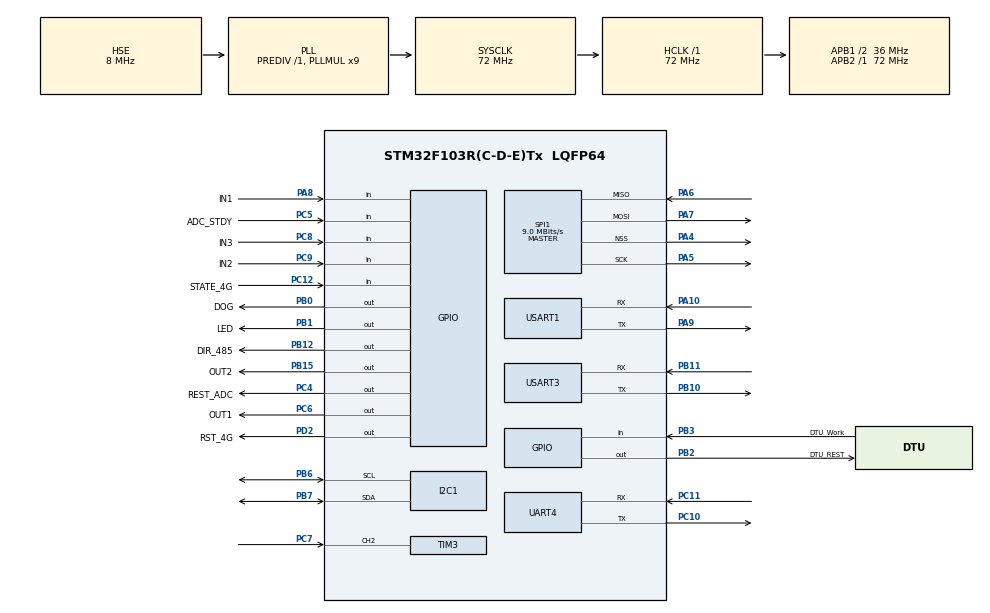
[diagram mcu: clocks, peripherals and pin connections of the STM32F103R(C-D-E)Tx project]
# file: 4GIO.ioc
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FREERTOS.INCLUDE_eTaskGetState=1
FREERTOS.INCLUDE_pcTaskGetTaskName=1
FREERTOS.INCLUDE_uxTaskGetStackHighWaterMark=1
FREERTOS.INCLUDE_vTaskDelayUntil=1
FREERTOS.INCLUDE_xQueueGetMutexHolder=1
FREERTOS.INCLUDE_xSemaphoreGetMutexHolder=1
FREERTOS.INCLUDE_xTaskGetCurrentTaskHandle=1
FREERTOS.INCLUDE_xTaskGetHandle=1
FREERTOS.Tasks01=defaultTask,-2,128,StartDefaultTask,Default,NULL,Dynamic,NULL,NULL;uart1,0,256,StartTask02,Default,NULL,Dynamic,NULL,NULL;uart3,1,256,StartTask03,Default,NULL,Dynamic,NULL,NULL;dataprocess,-2,128,StartTask04,Default,NULL,Dynamic,NULL,NULL;uart4,-1,512,StartTask05,Default,NULL,Dynamic,NULL,NULL
FREERTOS.configGENERATE_RUN_TIME_STATS=1
FREERTOS.configMINIMAL_STACK_SIZE=128
FREERTOS.configTOTAL_HEAP_SIZE=16384
FREERTOS.configUSE_STATS_FORMATTING_FUNCTIONS=1
FREERTOS.configUSE_TRACE_FACILITY=1
I2C1.DualAddressMode=I2C_DUALADDRESS_DISABLE
I2C1.GeneralCallMode=I2C_GENERALCALL_DISABLE
I2C1.I2C_Mode=I2C_Standard
I2C1.NoStretchMode=I2C_NOSTRETCH_ENABLE
IWDG.Prescaler=IWDG_PRESCALER_32
IWDG.Reload=2000
Mcu.Family=STM32F1
Mcu.Name=STM32F103R(C-D-E)Tx
Mcu.Package=LQFP64
NVIC.PriorityGroup=NVIC_PRIORITYGROUP_4
NVIC.RTC_IRQn=true\:5\:0\:false\:false\:true\:true\:true
NVIC.TIM1_UP_IRQn=true\:0\:0\:false\:false\:true\:false\:false
NVIC.TIM2_IRQn=true\:5\:0\:false\:false\:true\:true\:true
NVIC.TIM3_IRQn=true\:5\:0\:false\:false\:true\:true\:true
NVIC.TimeBase=TIM1_UP_IRQn
NVIC.TimeBaseIP=TIM1
NVIC.UART4_IRQn=true\:5\:0\:false\:false\:true\:true\:true
NVIC.USART1_IRQn=true\:5\:0\:false\:false\:true\:true\:true
NVIC.USART3_IRQn=true\:5\:0\:false\:false\:true\:true\:true
PA10.Mode=Asynchronous
PA10.Signal=USART1_RX
PA13.Mode=Serial_Wire
PA13.Signal=SYS_JTMS-SWDIO
PA14.Mode=Serial_Wire
PA14.Signal=SYS_JTCK-SWCLK
PA4.Mode=NSS_Signal_Hard_Output
PA4.Signal=SPI1_NSS
PA5.Mode=Full_Duplex_Master
PA5.Signal=SPI1_SCK
PA6.Mode=Full_Duplex_Master
PA6.Signal=SPI1_MISO
PA7.Mode=Full_Duplex_Master
PA7.Signal=SPI1_MOSI
PA8.GPIO_Label=IN1
PA8.Signal=GPIO_Input
PA9.Mode=Asynchronous
PA9.Signal=USART1_TX
PB0.GPIO_Label=DOG
PB0.Signal=GPIO_Output
PB1.GPIO_Label=LED
PB1.Signal=GPIO_Output
PB10.Mode=Asynchronous
PB10.Signal=USART3_TX
PB11.Mode=Asynchronous
PB11.Signal=USART3_RX
PB12.GPIO_Label=DIR_485
PB12.Signal=GPIO_Output
PB15.GPIO_Label=OUT2
PB15.Signal=GPIO_Output
PB2.GPIO_Label=DTU_REST
PB2.PinState=GPIO_PIN_SET
PB2.Signal=GPIO_Output
PB3.GPIO_Label=DTU_Work
PB3.Signal=GPIO_Input
PB6.Mode=I2C
PB6.Signal=I2C1_SCL
PB7.Mode=I2C
PB7.Signal=I2C1_SDA
PC10.Mode=Asynchronous
PC10.Signal=UART4_TX
PC11.Mode=Asynchronous
PC11.Signal=UART4_RX
PC12.GPIO_Label=STATE_4G
PC12.Signal=GPIO_Input
PC14-OSC32_IN.Mode=LSE-External-Oscillator
PC14-OSC32_IN.Signal=RCC_OSC32_IN
PC15-OSC32_OUT.Mode=LSE-External-Oscillator
PC15-OSC32_OUT.Signal=RCC_OSC32_OUT
PC4.GPIO_Label=REST_ADC
PC4.PinState=GPIO_PIN_SET
PC4.Signal=GPIO_Output
PC5.GPIO_Label=ADC_STDY
PC5.Signal=GPIO_Input
PC6.GPIO_Label=OUT1
PC6.Signal=GPIO_Output
PC7.Signal=S_TIM3_CH2
PC8.GPIO_Label=IN3
PC8.Signal=GPIO_Input
PC9.GPIO_Label=IN2
PC9.Signal=GPIO_Input
PD0-OSC_IN.Mode=HSE-External-Oscillator
PD0-OSC_IN.Signal=RCC_OSC_IN
PD1-OSC_OUT.Mode=HSE-External-Oscillator
PD1-OSC_OUT.Signal=RCC_OSC_OUT
PD2.GPIO_Label=RST_4G
PD2.GPIO_Speed=GPIO_SPEED_FREQ_LOW
PD2.PinState=GPIO_PIN_RESET
PD2.Signal=GPIO_Output
ProjectManager.HeapSize=0x400
ProjectManager.StackSize=0x800
ProjectManager.TargetToolchain=MDK-ARM V5
RCC.AHBFreq_Value=72000000
RCC.APB1CLKDivider=RCC_HCLK_DIV2
RCC.APB1Freq_Value=36000000
RCC.APB1TimFreq_Value=72000000
RCC.APB2Freq_Value=72000000
RCC.APB2TimFreq_Value=72000000
RCC.HCLKFreq_Value=72000000
RCC.PLLMUL=RCC_PLL_MUL9
RCC.PLLSourceVirtual=RCC_PLLSOURCE_HSE
RCC.RTCClockSelection=RCC_RTCCLKSOURCE_LSE
RCC.SYSCLKFreq_VALUE=72000000
RCC.SYSCLKSource=RCC_SYSCLKSOURCE_PLLCLK
RCC.USBFreq_Value=48000000
RCC.USBPrescaler=RCC_USBCLKSOURCE_PLL_DIV1_5
RTC.AutoPrediv=RTC_AUTO_1_SECOND
RTC.Format=RTC_FORMAT_BIN
RTC.Hours=23
RTC.Minutes=1
RTC.OutPut=RTC_OUTPUTSOURCE_ALARM
RTC.Seconds=1
RTC.Year=21
SH.S_TIM3_CH2.0=TIM3_CH2,Input_Capture2_from_TI2
SPI1.BaudRatePrescaler=SPI_BAUDRATEPRESCALER_8
SPI1.CLKPhase=SPI_PHASE_2EDGE
SPI1.CLKPolarity=SPI_POLARITY_HIGH
SPI1.CalculateBaudRate=9.0 MBits/s
SPI1.Direction=SPI_DIRECTION_2LINES
SPI1.Mode=SPI_MODE_MASTER
SPI1.VirtualNSS=VM_NSSHARD
SPI1.VirtualType=VM_MASTER
TIM2.Period=1000
TIM2.Prescaler=71
TIM3.AutoReloadPreload=TIM_AUTORELOAD_PRELOAD_ENABLE
TIM3.Channel-Input_Capture2_from_TI2=TIM_CHANNEL_2
TIM3.Period=0xffff
TIM3.Prescaler=71
UART4.VirtualMode=Asynchronous
USART1.VirtualMode=VM_ASYNC
USART3.VirtualMode=VM_ASYNC
VP_FREERTOS_VS_ENABLE.Mode=Enabled
VP_IWDG_VS_IWDG.Mode=IWDG_Activate
VP_RTC_VS_RTC_Activate.Mode=RTC_Enabled
VP_RTC_VS_RTC_Calendar.Mode=RTC_Calendar
VP_SYS_VS_tim1.Mode=TIM1
VP_TIM2_VS_ClockSourceINT.Mode=Internal
VP_TIM3_VS_ClockSourceINT.Mode=Internal
board=custom

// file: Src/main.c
/**
  ******************************************************************************
  * @file           : main.c
  * @brief          : Main program body
  ******************************************************************************
  * This notice applies to any and all portions of this file
  * that are not between comment pairs USER CODE BEGIN and
  * USER CODE END. Other portions of this file, whether
  * inserted by the user or by software development tools
  * are owned by their respective copyright owners.
  *
  * Copyright (c) 2022 STMicroelectronics International N.V.
  * All rights reserved.
  *
  * Redistribution and use in source and binary forms, with or without
  * modification, are permitted, provided that the following conditions are met:
  *
  * 1. Redistribution of source code must retain the above copyright notice,
  *    this list of conditions and the following disclaimer.
  * 2. Redistributions in binary form must reproduce the above copyright notice,
  *    this list of conditions and the following disclaimer in the documentation
  *    and/or other materials provided with the distribution.
  * 3. Neither the name of STMicroelectronics nor the names of other
  *    contributors to this software may be used to endorse or promote products
  *    derived from this software without specific written permission.
  * 4. This software, including modifications and/or derivative works of this
  *    software, must execute solely and exclusively on microcontroller or
  *    microprocessor devices manufactured by or for STMicroelectronics.
  * 5. Redistribution and use of this software other than as permitted under
  *    this license is void and will automatically terminate your rights under
  *    this license.
  *
  * THIS SOFTWARE IS PROVIDED BY STMICROELECTRONICS AND CONTRIBUTORS "AS IS"
  * AND ANY EXPRESS, IMPLIED OR STATUTORY WARRANTIES, INCLUDING, BUT NOT
  * LIMITED TO, THE IMPLIED WARRANTIES OF MERCHANTABILITY, FITNESS FOR A
  * PARTICULAR PURPOSE AND NON-INFRINGEMENT OF THIRD PARTY INTELLECTUAL PROPERTY
  * RIGHTS ARE DISCLAIMED TO THE FULLEST EXTENT PERMITTED BY LAW. IN NO EVENT
  * SHALL STMICROELECTRONICS OR CONTRIBUTORS BE LIABLE FOR ANY DIRECT, INDIRECT,
  * INCIDENTAL, SPECIAL, EXEMPLARY, OR CONSEQUENTIAL DAMAGES (INCLUDING, BUT NOT
  * LIMITED TO, PROCUREMENT OF SUBSTITUTE GOODS OR SERVICES; LOSS OF USE, DATA,
  * OR PROFITS; OR BUSINESS INTERRUPTION) HOWEVER CAUSED AND ON ANY THEORY OF
  * LIABILITY, WHETHER IN CONTRACT, STRICT LIABILITY, OR TORT (INCLUDING
  * NEGLIGENCE OR OTHERWISE) ARISING IN ANY WAY OUT OF THE USE OF THIS SOFTWARE,
  * EVEN IF ADVISED OF THE POSSIBILITY OF SUCH DAMAGE.
  *
  ******************************************************************************
  */
#include "main.h"
#include "stm32f1xx_hal.h"
#include "cmsis_os.h"
#include "i2c.h"
#include "iwdg.h"
#include "rtc.h"
#include "spi.h"
#include "tim.h"
#include "usart.h"
#include "gpio.h"

/* USER CODE BEGIN Includes */
#include "malloc.h"
#include "24cxx.h"
#include "uart1data.h"
#include "modbus.h"
#include "logicaldata.h"
#include "iap.h"
/* USER CODE END Includes */

/* USER CODE BEGIN PV */
/* Private variables ---------------------------------------------------------*/

/* USER CODE END PV */

void SystemClock_Config(void);
void MX_FREERTOS_Init(void);

/* USER CODE BEGIN PFP */
/* Private function prototypes -----------------------------------------------*/
extern char Version_Num[30];//版本号
/* USER CODE END PFP */

/* USER CODE BEGIN 0 */
void EEROM_Read(void)
{
   uint8_t temp=0;
   uint8_t databuf[30];
	 temp=AT24CXX_ReadOne(0);//避免每次开机都写AT24CXX
   if(temp!=0X55)
	 {
	      AT24CXX_WriteOne(0,0X55);
		    AT24CXX_WriteOne(AD1_Type_Adress,AD1_Type);     //0:关       1:4-20ma   2:0-5V
		    AT24CXX_WriteOne(AD2_Type_Adress,AD2_Type);     //0:关       1:4-20ma   2:0-5V
        AT24CXX_WriteOne(RS485_Adresss,Device485_type); //设备485类型(是否带智能微断)  0：不用  1：微端控制不带计量
        AT24CXX_WriteOne(CNC_UpType_Adress,CNC_UpType); //0:不上报 1:变化上报 2:定时上报
		    AT24CXX_WriteOne(CNC_UpTime_Adress,CNC_UpTime); //1:单位分钟
			  AT24CXX_WriteOne(CNC_YELLOW_Adress ,CNC_YELLOW);//0:常亮结束 1:闪烁结束  2:脉冲计数
        AT24CXX_WriteOne(CNC_GREEN_Adress ,CNC_GREEN);  //0:常亮结束 1:闪烁运行
        AT24CXX_WriteOne(CNC_RED_Adress,CNC_RED);       //0:常亮故障 1:闪烁故障

			  memcpy(databuf,&TIM3_CAPTURE_VAL1,4);           //TIM3_CAPTURE_VAL1计数值清零
			  AT24CXX_Write(TIM3_CAPTURE_VAL1_Adress,databuf,4);

        memcpy(databuf,&AD1_PhyValue1,4);               //AD1物理量范围1
			  AT24CXX_Write(AD1_PhyValue1_Adress,databuf,4);

        memcpy(databuf,&AD1_PhyValue2,4);               //AD1物理量范围2
			  AT24CXX_Write(AD1_PhyValue2_Adress,databuf,4);

        memcpy(databuf,&AD2_PhyValue1,4);               //AD2物理量范围1
			  AT24CXX_Write(AD2_PhyValue1_Adress,databuf,4);

        memcpy(databuf,&AD2_PhyValue2,4);               //AD2物理量范围2
			  AT24CXX_Write(AD2_PhyValue2_Adress,databuf,4);

				memcpy(databuf,&CNC_UpTime,2);                     //1:单位秒
			  AT24CXX_Write(CNC_UpTime_Adress,databuf,2);

				AT24CXX_WriteOne(Slave_Num_Adress,Slave_Num);       //主站询问从机个数
				AT24CXX_WriteOne(Master_ADDR_Adress,Master_ADDR);   //主站询问首地址

        memcpy(databuf,&StartAddr,2);                       //起始地址
				AT24CXX_Write(StartAddr_Adress,databuf,2);

        memcpy(databuf,&ValueOrLenth,2);                      //数据or长度写多个寄存器返回数据量的对比值
				AT24CXX_Write(ValueOrLenth_Adress,databuf,2);

        AT24CXX_WriteOne(Slave_ADDR_Adress,Slave_ADDR);       //Modbus从机ID

        AT24CXX_WriteOne(ModbusBaudRate_Adress,ModbusBaudRate);     //Modbus串口波特率  1:2400 2:4800 3:9600 4:14400 5:19200 6:38400 7:57600 8:115200
		    AT24CXX_WriteOne(ModbusWordLength_Adress,ModbusWordLength); //Modbus串口数据位  5-8
		    AT24CXX_WriteOne(ModbusStopBits_Adress,ModbusStopBits);     //Modbus串口停止位  1-2
		    AT24CXX_WriteOne(ModbusParity_Adress,ModbusParity);         //Modbus串口校验位  1:无校验 2:奇校验 3:偶校验

        memcpy(databuf,&TIM3_Pulse_Threshold,2);                   //脉冲捕捉上升和下降沿之间时间单位ms
        AT24CXX_Write(TIM3_Pulse_Threshold_Adress,databuf,2);
        SetServerIP((char*) IP);
			  SetServerPort((char*)Port);
			  SetUserName((char*)MQTTUserName);
				SetPassWord((char*)MQTTPassWord);

        AD1_Type=AT24CXX_ReadOne(AD1_Type_Adress);         //0:关       1:4-20ma   2:0-5V
		    AD2_Type=AT24CXX_ReadOne(AD2_Type_Adress);         //0:关       1:4-20ma   2:0-5V
        Device485_type=AT24CXX_ReadOne(RS485_Adresss);     //设备485类型(是否带智能微断)  0：不用  1：微端控制不带计量
        CNC_UpType=AT24CXX_ReadOne(CNC_UpType_Adress);     //0:不上报 1:变化上报 2:定时上报

		    CNC_YELLOW=AT24CXX_ReadOne(CNC_YELLOW_Adress);     //0:常亮结束 1:闪烁结束
				CNC_GREEN=AT24CXX_ReadOne(CNC_GREEN_Adress);       //0:常亮结束 1:闪烁运行
				CNC_RED=AT24CXX_ReadOne(CNC_RED_Adress);           //0:常亮结束 1:闪烁故障
				AT24CXX_Read(TIM3_CAPTURE_VAL1_Adress,databuf,4);
				memcpy(&TIM3_CAPTURE_VAL1,databuf,4);

				AT24CXX_Read(AD1_PhyValue1_Adress,databuf,4);
				memcpy(&AD1_PhyValue1,databuf,4);

				AT24CXX_Read(AD1_PhyValue2_Adress,databuf,4);
				memcpy(&AD1_PhyValue2,databuf,4);

				AT24CXX_Read(AD2_PhyValue1_Adress,databuf,4);
				memcpy(&AD2_PhyValue1,databuf,4);

				AT24CXX_Read(AD2_PhyValue2_Adress,databuf,4);
				memcpy(&AD2_PhyValue2,databuf,4);

				AT24CXX_Read(CNC_UpTime_Adress,databuf,2);
				memcpy(&CNC_UpTime,databuf,2);
	      if(CNC_UpType==2)
			  {
			     bsp_StartAutoTimer(1, CNC_UpTime*1000);	        /* 启动1个1000ms的自动重装的定时器 */
           bsp_StartAutoTimer(7, CNC_UpTime*1000);	        /* 启动1个1000ms的自动重装的定时器定时上报计数 */
			  }

        Slave_Num=AT24CXX_ReadOne(Slave_Num_Adress);       //主站询问从机个数
        Master_ADDR=AT24CXX_ReadOne(Master_ADDR_Adress);   //主站询问首地址
	      Slave_ADDR=AT24CXX_ReadOne(Slave_ADDR_Adress);     //Modbus从机ID

				AT24CXX_Read(StartAddr_Adress,databuf,2);          //起始地址
				memcpy(&StartAddr,databuf,2);

				AT24CXX_Read(ValueOrLenth_Adress,databuf,2);      //数据or长度写多个寄存器返回数据量的对比值
				memcpy(&ValueOrLenth,databuf,2);

        ModbusBaudRate=AT24CXX_ReadOne(ModbusBaudRate_Adress);     //Modbus串口波特率  1:2400 2:4800 3:9600 4:14400 5:19200 6:38400 7:57600 8:115200
			  ModbusWordLength=AT24CXX_ReadOne(ModbusWordLength_Adress); //Modbus串口数据位  5-8
				ModbusStopBits=AT24CXX_ReadOne(ModbusStopBits_Adress);     //Modbus串口停止位  1-2
				ModbusParity=AT24CXX_ReadOne(ModbusParity_Adress);         //Modbus串口校验位  1:无校验 2:奇校验 3:偶校验

				AT24CXX_Read(TIM3_Pulse_Threshold_Adress,databuf,2);      //脉冲捕捉上升和下降沿之间时间单位ms
				memcpy(&TIM3_Pulse_Threshold,databuf,2);
				GetServerIP((char*)IP);
				GetServerPort((char*) Port);
				GetUserName((char*)MQTTUserName);
				GetPassWord((char*)MQTTPassWord);
			  printf("%s\r\n", "24cxx外部eerom_初始化!");
	 }
	 else
	 {
        AD1_Type=AT24CXX_ReadOne(AD1_Type_Adress);        //0:关       1:4-20ma   2:0-5V
		    AD2_Type=AT24CXX_ReadOne(AD2_Type_Adress);        //0:关       1:4-20ma   2:0-5V
       	Device485_type=AT24CXX_ReadOne(RS485_Adresss);    //设备485类型(是否带智能微断)  0：不用  1：微端控制不带计量
        CNC_UpType=AT24CXX_ReadOne(CNC_UpType_Adress);     //0:不上报 1:变化上报 2:定时上报

		    CNC_YELLOW=AT24CXX_ReadOne(CNC_YELLOW_Adress);     //0:常亮结束 1:闪烁结束
				CNC_GREEN=AT24CXX_ReadOne(CNC_GREEN_Adress);       //0:常亮结束 1:闪烁运行
				CNC_RED=AT24CXX_ReadOne(CNC_RED_Adress);           //0:常亮结束 1:闪烁故障
				AT24CXX_Read(TIM3_CAPTURE_VAL1_Adress,databuf,4);
				memcpy(&TIM3_CAPTURE_VAL1,databuf,4);

				AT24CXX_Read(AD1_PhyValue1_Adress,databuf,4);
				memcpy(&AD1_PhyValue1,databuf,4);

				AT24CXX_Read(AD1_PhyValue2_Adress,databuf,4);
				memcpy(&AD1_PhyValue2,databuf,4);

				AT24CXX_Read(AD2_PhyValue1_Adress,databuf,4);
				memcpy(&AD2_PhyValue1,databuf,4);

				AT24CXX_Read(AD2_PhyValue2_Adress,databuf,4);
				memcpy(&AD2_PhyValue2,databuf,4);

       	AT24CXX_Read(CNC_UpTime_Adress,databuf,2);
				memcpy(&CNC_UpTime,databuf,2);
        if(CNC_UpType==2)
			  {
			     bsp_StartAutoTimer(1, CNC_UpTime*1000);	    /* 启动1个1000ms的自动重装的定时器定时上报计数 */
           bsp_StartAutoTimer(7, CNC_UpTime*1000);	    /* 启动1个1000ms的自动重装的定时器定时上报计数 */
			  }

        Slave_Num=AT24CXX_ReadOne(Slave_Num_Adress);       //主站询问从机个数
        Master_ADDR=AT24CXX_ReadOne(Master_ADDR_Adress);   //主站询问首地址
	      Slave_ADDR=AT24CXX_ReadOne(Slave_ADDR_Adress);     //Modbus从机ID

				AT24CXX_Read(StartAddr_Adress,databuf,2);          //起始地址
				memcpy(&StartAddr,databuf,2);

				AT24CXX_Read(ValueOrLenth_Adress,databuf,2);      //数据or长度写多个寄存器返回数据量的对比值
				memcpy(&ValueOrLenth,databuf,2);

        ModbusBaudRate=AT24CXX_ReadOne(ModbusBaudRate_Adress); //Modbus串口波特率  1:2400 2:4800 3:9600 4:14400 5:19200 6:38400 7:57600 8:115200
			  ModbusWordLength=AT24CXX_ReadOne(ModbusWordLength_Adress); //Modbus串口数据位  5-8
				ModbusStopBits=AT24CXX_ReadOne(ModbusStopBits_Adress);     //Modbus串口停止位  1-2
				ModbusParity=AT24CXX_ReadOne(ModbusParity_Adress);         //Modbus串口校验位  1:无校验 2:奇校验 3:偶校验

				AT24CXX_Read(TIM3_Pulse_Threshold_Adress,databuf,2);      //脉冲捕捉上升和下降沿之间时间单位ms
				memcpy(&TIM3_Pulse_Threshold,databuf,2);
				GetServerIP((char*)IP);
				GetServerPort((char*) Port);
				GetUserName((char*)MQTTUserName);
				GetPassWord((char*)MQTTPassWord);

	 }
}

/* USER CODE END 0 */

int main(void)
{
  /* USER CODE BEGIN 1 */
	 //INTX_ENABLE();                     //开启中断
   SCB->VTOR = FLASH_BASE | 0x10000;  /* Vector Table Relocation in Internal FLASH. */
  /* USER CODE END 1 */

  /* MCU Configuration----------------------------------------------------------*/

  /* Reset of all peripherals, Initializes the Flash interface and the Systick. */
  HAL_Init();

  /* Configure the system clock */
  SystemClock_Config();

  /* Initialize all configured peripherals */
  MX_GPIO_Init();
  MX_RTC_Init();
  MX_USART1_UART_Init();
  MX_IWDG_Init();
  MX_SPI1_Init();
  MX_I2C1_Init();
  MX_TIM2_Init();
  MX_UART4_Init();
  MX_USART3_UART_Init();
  MX_TIM3_Init();
  /* USER CODE BEGIN 2 */
  my_mem_init(SRAMIN);			//初始化内部内存池

	if(AT24CXX_Check()==1)   //检测不到24c02
	{
		  EEROM_Read();
	    printf("%s\r\n", "24cxx外部eerom_OK!");
	}
	else
	{
	     printf("%s\r\n", "24cxx外部eerom_Fail!");
	}

  MX_RTCBSP_Init();
	MX_USART3BSP_UART_Init();
	  /* 使能接收，进入中断回调函数 */
   HAL_UART_Receive_IT(&huart1,(uint8_t *)aRxBuffer, RXBUFFERSIZE);
	__HAL_UART_ENABLE_IT(&huart1, UART_IT_IDLE);
	 HAL_UART_Receive_IT(&huart3,(uint8_t *)aRx3Buffer, RX3BUFFERSIZE);
	__HAL_UART_ENABLE_IT(&huart3, UART_IT_IDLE);
	 HAL_UART_Receive_IT(&huart4,(uint8_t *)aRx4Buffer, RX4BUFFERSIZE);
	__HAL_UART_ENABLE_IT(&huart4, UART_IT_IDLE);
		//定时2启动
	 HAL_TIM_Base_Start_IT(&htim2);
	 HAL_TIM_Base_Start_IT(&htim3);

	 if(CNC_YELLOW==2){
		 HAL_TIM_IC_Start_IT(&htim3,TIM_CHANNEL_2);   //开启TIM3的捕获通道2，并且开启捕获中断
	 }
	 else
	 {
	   HAL_TIM_IC_Stop(&htim3,TIM_CHANNEL_2);   //关闭TIM3的捕获通道2，并且关闭捕获中断
	 }
	bsp_StartAutoTimer(2, 6*1000);	    /* 启动1个1000ms的自动重装的定时器 本地定时显示*/
  printf("\r\n\r\n*******************开始运行用户程序*******************\r\n");
	printf("硬件版本:%d\r\n",IAPGetHardwareVersion());
	printf("设备型号:%s\r\n",DeviceModel);
	printf("固件版本:%s\r\n", Version_Num);
  printf("ServerIP:%s\r\n", IP);
  printf("ServerPort:%s\r\n",Port);
  printf("UserName:%s\r\n", MQTTUserName);
  printf("PassWord:%s\r\n", MQTTPassWord);
  /* USER CODE END 2 */

  /* Call init function for freertos objects (in freertos.c) */
  MX_FREERTOS_Init();

  /* Start scheduler */
  osKernelStart();

  /* We should never get here as control is now taken by the scheduler */

  /* Infinite loop */
  while (1)
  {

  }

}

void SystemClock_Config(void)
{

  RCC_OscInitTypeDef RCC_OscInitStruct;
  RCC_ClkInitTypeDef RCC_ClkInitStruct;
  RCC_PeriphCLKInitTypeDef PeriphClkInit;

    /**Initializes the CPU, AHB and APB busses clocks
    */
  RCC_OscInitStruct.OscillatorType = RCC_OSCILLATORTYPE_LSI|RCC_OSCILLATORTYPE_HSE
                              |RCC_OSCILLATORTYPE_LSE;
  RCC_OscInitStruct.HSEState = RCC_HSE_ON;
  RCC_OscInitStruct.HSEPredivValue = RCC_HSE_PREDIV_DIV1;
  RCC_OscInitStruct.LSEState = RCC_LSE_ON;
  RCC_OscInitStruct.HSIState = RCC_HSI_ON;
  RCC_OscInitStruct.LSIState = RCC_LSI_ON;
  RCC_OscInitStruct.PLL.PLLState = RCC_PLL_ON;
  RCC_OscInitStruct.PLL.PLLSource = RCC_PLLSOURCE_HSE;
  RCC_OscInitStruct.PLL.PLLMUL = RCC_PLL_MUL9;
  if (HAL_RCC_OscConfig(&RCC_OscInitStruct) != HAL_OK)
  {
    _Error_Handler(__FILE__, __LINE__);
  }

    /**Initializes the CPU, AHB and APB busses clocks
    */
  RCC_ClkInitStruct.ClockType = RCC_CLOCKTYPE_HCLK|RCC_CLOCKTYPE_SYSCLK
                              |RCC_CLOCKTYPE_PCLK1|RCC_CLOCKTYPE_PCLK2;
  RCC_ClkInitStruct.SYSCLKSource = RCC_SYSCLKSOURCE_PLLCLK;
  RCC_ClkInitStruct.AHBCLKDivider = RCC_SYSCLK_DIV1;
  RCC_ClkInitStruct.APB1CLKDivider = RCC_HCLK_DIV2;
  RCC_ClkInitStruct.APB2CLKDivider = RCC_HCLK_DIV1;

  if (HAL_RCC_ClockConfig(&RCC_ClkInitStruct, FLASH_LATENCY_2) != HAL_OK)
  {
    _Error_Handler(__FILE__, __LINE__);
  }

  PeriphClkInit.PeriphClockSelection = RCC_PERIPHCLK_RTC;
  PeriphClkInit.RTCClockSelection = RCC_RTCCLKSOURCE_LSE;
  if (HAL_RCCEx_PeriphCLKConfig(&PeriphClkInit) != HAL_OK)
  {
    _Error_Handler(__FILE__, __LINE__);
  }

    /**Configure the Systick interrupt time
    */
  HAL_SYSTICK_Config(HAL_RCC_GetHCLKFreq()/1000);

    /**Configure the Systick
    */
  HAL_SYSTICK_CLKSourceConfig(SYSTICK_CLKSOURCE_HCLK);

  /* SysTick_IRQn interrupt configuration */
  HAL_NVIC_SetPriority(SysTick_IRQn, 15, 0);
}

/* USER CODE BEGIN 4 */
//捕获状态
//[7]:0,没有成功的捕获;1,成功捕获到一次.
//[6]:0,还没捕获到低电平;1,已经捕获到低电平了.
//[5:0]:捕获低电平后溢出的次数(对于32位定时器来说,1us计数器加1,溢出时间:4294秒)
uint16_t   TIM3CH2_CAPTURE_STA1=0;	    //输入捕获状态
uint16_t	 TIM3CH2_CAPTURE_VAL1=0;	    //输入捕获值(TIM2/TIM5是32位)
/**
  * 函数功能: 定时器输入捕获中断回调函数
  * 输入参数: htim：定时器句柄
  * 返 回 值: 无
  * 说    明: 无
  */
void HAL_TIM_IC_CaptureCallback(TIM_HandleTypeDef *htim){

	if(htim->Instance == TIM3) {

		 if(htim->Channel==HAL_TIM_ACTIVE_CHANNEL_2)
		 {
					if(TIM3CH2_CAPTURE_STA1&0X40)		//捕获到一个下降沿
					{
						TIM3CH2_CAPTURE_STA1|=0X80;		//标记成功捕获到一次高电平脉宽
						TIM3CH2_CAPTURE_VAL1=HAL_TIM_ReadCapturedValue(&htim3,TIM_CHANNEL_2);//获取当前的捕获值.
						TIM_RESET_CAPTUREPOLARITY(&htim3,TIM_CHANNEL_2);                    //一定要先清除原来的设置！！
						TIM_SET_CAPTUREPOLARITY(&htim3,TIM_CHANNEL_2,TIM_ICPOLARITY_RISING);//配置TIM2通道1上升沿捕获
					}
					else  								                     //还未开始,第一次捕获上升沿
					{
						TIM3CH2_CAPTURE_STA1=0;			             //清空
						TIM3CH2_CAPTURE_VAL1=0;
						TIM3CH2_CAPTURE_STA1|=0X40;		           //标记捕获到了上升沿

						// 清除中断标志位
//						__HAL_TIM_CLEAR_IT(&htim3, TIM_IT_CC2);
//						__HAL_TIM_DISABLE(&htim3);              //关闭定时器2
						__HAL_TIM_SET_COUNTER(&htim3,0);
						TIM_RESET_CAPTUREPOLARITY(&htim3,TIM_CHANNEL_2);   //一定要先清除原来的设置！！
						TIM_SET_CAPTUREPOLARITY(&htim3,TIM_CHANNEL_2,TIM_ICPOLARITY_FALLING);//定时器2通道1设置为下降沿捕获
	//							__HAL_TIM_ENABLE(&htim3);//使能定时器3
	//							 启动输入捕获并开启中断
						HAL_TIM_IC_Start_IT(&htim3,TIM_CHANNEL_2);   //开启TIM5的捕获通道1，并且开启捕获中断
					}
		 }
	 }

}
/* USER CODE END 4 */

void HAL_TIM_PeriodElapsedCallback(TIM_HandleTypeDef *htim)
{
  /* USER CODE BEGIN Callback 0 */
	static uint16_t count;
  /* USER CODE END Callback 0 */
  if (htim->Instance == TIM1) {
    HAL_IncTick();
  }
  /* USER CODE BEGIN Callback 1 */
  if (htim->Instance == TIM2) {
   	if(count++>=500)
		{
		   		HAL_GPIO_TogglePin(DOG_GPIO_Port,DOG_Pin);
		      HAL_GPIO_TogglePin(LED_GPIO_Port,LED_Pin);
			    count=0;
		}

  }
  if (htim->Instance == TIM3) {

			if((TIM3CH2_CAPTURE_STA1&0X80)==0)//还未成功捕获
			{
					if(TIM3CH2_CAPTURE_STA1&0X40)//已经捕获到高电平了
					{
						if((TIM3CH2_CAPTURE_STA1&0X3F)==0x3F)//高电平太长了
						{
							//TIM3CH2_CAPTURE_STA1|=0X80;	     //标记捕获到了上升沿
							//TIM3CH2_CAPTURE_VAL1=0XFFFF;
						}
						else
						{
						   TIM3CH2_CAPTURE_STA1++;
							 //printf("TIM3CH2_CAPTURE_STA1:%d \r\n",TIM3CH2_CAPTURE_STA1);//打印总的高点平时间
						}

					}
			}
  }

  /* USER CODE END Callback 1 */
}

void _Error_Handler(char *file, int line)
{
  while(1)
  {
  }
}

/************************ (C) COPYRIGHT STMicroelectronics *****END OF FILE****/

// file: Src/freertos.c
/* USER CODE BEGIN Header */
/**
  ******************************************************************************
  * File Name          : freertos.c
  * Description        : Code for freertos applications
  ******************************************************************************
  * This notice applies to any and all portions of this file
  * that are not between comment pairs USER CODE BEGIN and
  * USER CODE END. Other portions of this file, whether
  * inserted by the user or by software development tools
  * are owned by their respective copyright owners.
  *
  * Copyright (c) 2021 STMicroelectronics International N.V.
  * All rights reserved.
  *
  * Redistribution and use in source and binary forms, with or without
  * modification, are permitted, provided that the following conditions are met:
  *
  * 1. Redistribution of source code must retain the above copyright notice,
  *    this list of conditions and the following disclaimer.
  * 2. Redistributions in binary form must reproduce the above copyright notice,
  *    this list of conditions and the following disclaimer in the documentation
  *    and/or other materials provided with the distribution.
  * 3. Neither the name of STMicroelectronics nor the names of other
  *    contributors to this software may be used to endorse or promote products
  *    derived from this software without specific written permission.
  * 4. This software, including modifications and/or derivative works of this
  *    software, must execute solely and exclusively on microcontroller or
  *    microprocessor devices manufactured by or for STMicroelectronics.
  * 5. Redistribution and use of this software other than as permitted under
  *    this license is void and will automatically terminate your rights under
  *    this license.
  *
  * THIS SOFTWARE IS PROVIDED BY STMICROELECTRONICS AND CONTRIBUTORS "AS IS"
  * AND ANY EXPRESS, IMPLIED OR STATUTORY WARRANTIES, INCLUDING, BUT NOT
  * LIMITED TO, THE IMPLIED WARRANTIES OF MERCHANTABILITY, FITNESS FOR A
  * PARTICULAR PURPOSE AND NON-INFRINGEMENT OF THIRD PARTY INTELLECTUAL PROPERTY
  * RIGHTS ARE DISCLAIMED TO THE FULLEST EXTENT PERMITTED BY LAW. IN NO EVENT
  * SHALL STMICROELECTRONICS OR CONTRIBUTORS BE LIABLE FOR ANY DIRECT, INDIRECT,
  * INCIDENTAL, SPECIAL, EXEMPLARY, OR CONSEQUENTIAL DAMAGES (INCLUDING, BUT NOT
  * LIMITED TO, PROCUREMENT OF SUBSTITUTE GOODS OR SERVICES; LOSS OF USE, DATA,
  * OR PROFITS; OR BUSINESS INTERRUPTION) HOWEVER CAUSED AND ON ANY THEORY OF
  * LIABILITY, WHETHER IN CONTRACT, STRICT LIABILITY, OR TORT (INCLUDING
  * NEGLIGENCE OR OTHERWISE) ARISING IN ANY WAY OUT OF THE USE OF THIS SOFTWARE,
  * EVEN IF ADVISED OF THE POSSIBILITY OF SUCH DAMAGE.
  *
  ******************************************************************************
  */
/* USER CODE END Header */

#include "FreeRTOS.h"
#include "task.h"
#include "main.h"
#include "cmsis_os.h"

/* USER CODE BEGIN Includes */
#include "iwdg.h"
#include "bsp_tm7705.h"
#include "tim.h"
#include "uart1data.h"
#include "uart3data.h"
#include "uart4data.h"
#include "logicaldata.h"
#include "mqtt.h"
#include "ConfigModuleNoBlock.h"
/* USER CODE END Includes */

osThreadId defaultTaskHandle;
osThreadId uart1Handle;
osThreadId uart3Handle;
osThreadId dataprocessHandle;
osThreadId uart4Handle;

/* USER CODE BEGIN FunctionPrototypes */
uint16_t adc1, adc2;
//互斥信号量句柄
SemaphoreHandle_t MutexSemaphore;	//互斥信号量
/* USER CODE END FunctionPrototypes */

void StartDefaultTask(void const * argument);
void StartTask02(void const * argument);
void StartTask03(void const * argument);
void StartTask04(void const * argument);
void StartTask05(void const * argument);

void MX_FREERTOS_Init(void); /* (MISRA C 2004 rule 8.1) */

/* Hook prototypes */
void configureTimerForRunTimeStats(void);
unsigned long getRunTimeCounterValue(void);

/* USER CODE BEGIN 1 */
/* Functions needed when configGENERATE_RUN_TIME_STATS is on */
__weak void configureTimerForRunTimeStats(void)
{

}

__weak unsigned long getRunTimeCounterValue(void)
{
	//FreeRTOS时间统计所用的节拍计数器
  static unsigned long long FreeRTOSRunTimeTicks;
	FreeRTOSRunTimeTicks++;
  return FreeRTOSRunTimeTicks;
}
/* USER CODE END 1 */

void MX_FREERTOS_Init(void) {
  /* USER CODE BEGIN Init */
 	//创建互斥信号量
	MutexSemaphore=xSemaphoreCreateMutex();
  /* USER CODE END Init */

  /* Create the thread(s) */
  /* definition and creation of defaultTask */
  osThreadDef(defaultTask, StartDefaultTask, osPriorityLow, 0, 128);
  defaultTaskHandle = osThreadCreate(osThread(defaultTask), NULL);

  /* definition and creation of uart1 */
  osThreadDef(uart1, StartTask02, osPriorityNormal, 0, 256);
  uart1Handle = osThreadCreate(osThread(uart1), NULL);

  /* definition and creation of uart3 */
  osThreadDef(uart3, StartTask03, osPriorityAboveNormal, 0, 256);
  uart3Handle = osThreadCreate(osThread(uart3), NULL);

  /* definition and creation of dataprocess */
  osThreadDef(dataprocess, StartTask04, osPriorityLow, 0, 128);
  dataprocessHandle = osThreadCreate(osThread(dataprocess), NULL);

  /* definition and creation of uart4 */
  osThreadDef(uart4, StartTask05, osPriorityBelowNormal, 0, 512);
  uart4Handle = osThreadCreate(osThread(uart4), NULL);

}

void StartDefaultTask(void const * argument)
{

  /* USER CODE BEGIN StartDefaultTask */

	bsp_StartAutoTimer(0,200);	/* 启动1个100ms的自动重装的定时器 */
	bsp_InitTM7705();			      /* 初始化配置TM7705 */
	TM7705_CalibSelf(1);		    /* 自校准。执行时间较长，约180ms */
	adc1 = TM7705_ReadAdc(1);
	TM7705_CalibSelf(2);		    /* 自校准。执行时间较长，约180ms */
	adc2 = TM7705_ReadAdc(2);

  /* Infinite loop */
  for(;;)
  {
		 xSemaphoreTake(MutexSemaphore,portMAX_DELAY);	//获取互斥信号量

		 if(bsp_CheckTimer(0))
		 {

		 	  adc1 = TM7705_ReadAdc(1);	/* 执行时间 80ms */
	      adc2 = TM7705_ReadAdc(2);	/* 执行时间 80ms */

		 }
	   xSemaphoreGive(MutexSemaphore);					//释放信号量
		 //xPortGetFreeHeapSize();
		 //uxTaskGetStackHighWaterMark(NULL);
		 //printf("ADTask%d\r\n",(int)uxTaskGetStackHighWaterMark(NULL));

     osDelay(50);
  }
  /* USER CODE END StartDefaultTask */
}

void StartTask02(void const * argument)
{
  /* USER CODE BEGIN StartTask02 */
  /* Infinite loop */
  for(;;)
  {
		Config_Param();//串口1配置打印数据
    osDelay(50);
		//printf("uart1Task%d\r\n",(int)uxTaskGetStackHighWaterMark(NULL));
  }
  /* USER CODE END StartTask02 */
}

void StartTask03(void const * argument)
{
  /* USER CODE BEGIN StartTask03 */
  /* Infinite loop */
  for(;;)
  {
    RS485Work();//
    osDelay(50);
		//printf("uart3Task%d\r\n",(int)uxTaskGetStackHighWaterMark(NULL));
  }
  /* USER CODE END StartTask03 */
}

void StartTask04(void const * argument)
{
  /* USER CODE BEGIN StartTask04 */
  /* Infinite loop */
  for(;;)
  {
			/*喂狗，如果不喂狗，系统则会复位，LD1则会灭一次，如果在1s
			时间内准时喂狗的话，则LED1会常亮 */
     HAL_IWDG_Refresh(&hiwdg);   //喂狗
		 Io_Collect();//IO引脚状态采集
		 Count_Work();//计数逻辑判断
		 Count_Save();//计数保存实时数据
		 AD_CAL();    // 计算物理量
     //printf("dataprocessTask%d\r\n",(int)uxTaskGetStackHighWaterMark(NULL));
     osDelay(50);
  }
  /* USER CODE END StartTask04 */
}

void StartTask05(void const * argument)
{
  /* USER CODE BEGIN StartTask05 */
  /* Infinite loop */
//	char RunTimeInfo[400];		//保存任务运行时间信息
	mqtt_init(&mymqtt);
	mqtt_connect_reg(&mymqtt,MqttConnect);      //注册连接回调函数
	mqtt_disconnect_reg(&mymqtt,MqttDisConnect);//注册断开连接回调函数
	mqtt_received_reg(&mymqtt,MqttReceive);     //注册接收数据回调函数
  for(;;)
  {
		ConfigModuleNoBlock();      //配置模块连接MQTT
		if(ConfigModuleNoBlockFlage)//(模块连接了MQTT)
		{
			mqtt_send_function(&mymqtt);//提取发送缓存的MQTT协议
			mqtt_keep_alive(&mymqtt);   //处理发送心跳包
		}
		Usart4Data();
		DTU_Work();//4G工作状态
		//printf("uart4Task%d\r\n",(int)uxTaskGetStackHighWaterMark(NULL));
//		vTaskGetRunTimeStats(RunTimeInfo);		//获取任务运行时间信息
//	  printf("任务名\t\t运行时间\t运行所占百分比\r\n");
//		printf("%s\r\n",RunTimeInfo);
    osDelay(50);
  }
  /* USER CODE END StartTask05 */
}

/************************ (C) COPYRIGHT STMicroelectronics *****END OF FILE****/
